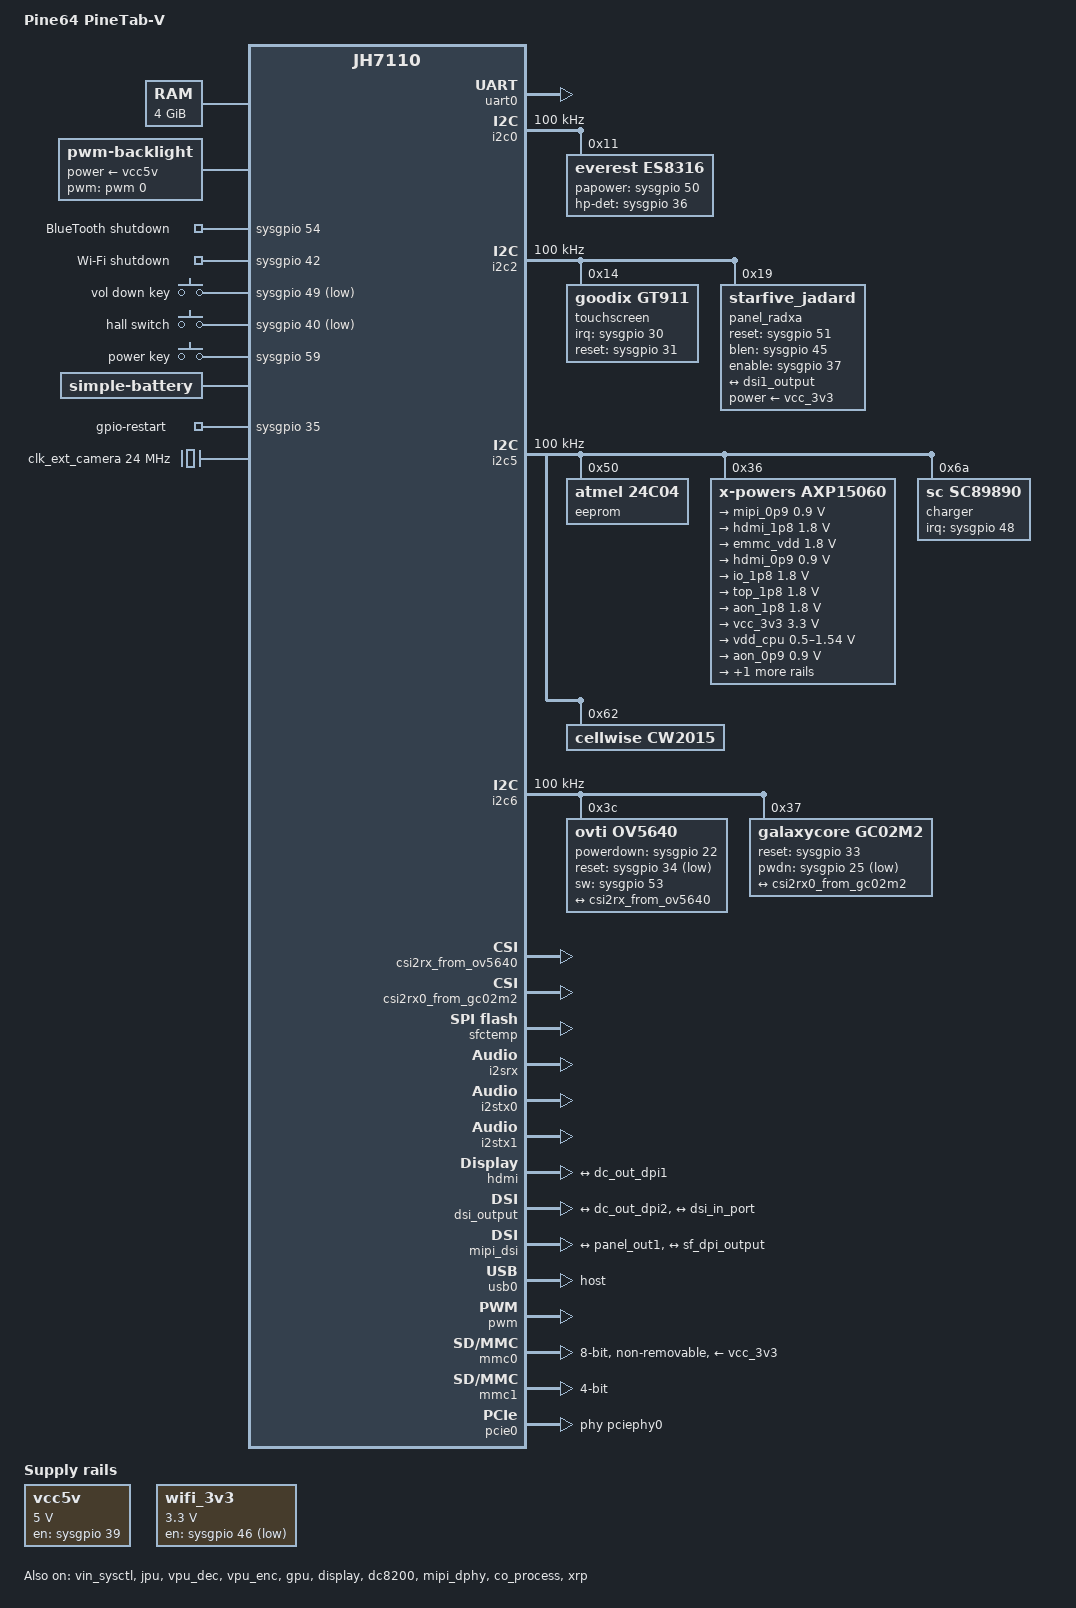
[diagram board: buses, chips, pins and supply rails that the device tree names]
// SPDX-License-Identifier: GPL-2.0 OR MIT
/*
 * Copyright (C) 2022 StarFive Technology Co., Ltd.
 * Copyright (C) 2022 Hal Feng <hal.feng@starfivetech.com>
 */

/dts-v1/;
#include <dt-bindings/gpio/gpio.h>
#include <dt-bindings/leds/common.h>
#include <dt-bindings/input/linux-event-codes.h>
#include <dt-bindings/pwm/pwm.h>
#include "jh7110.dtsi"
#include "jh7110-pinfunc.h"

/ {
	model = "Pine64 PineTab-V";
	compatible = "pine64,pinetab-v", "starfive,jh7110";

	aliases {
		mmc0 = &mmc0;
		mmc1 = &mmc1;
		serial0 = &uart0;
		serial3 = &uart3;
		i2c0 = &i2c0;
		i2c1 = &i2c1;
		i2c2 = &i2c2;
		i2c3 = &i2c3;
		i2c4 = &i2c4;
		i2c5 = &i2c5;
		i2c6 = &i2c6;
		pcie0 = &pcie0;
	};

	chosen {
		linux,initrd-start = <0x0 0x46100000>;
		linux,initrd-end = <0x0 0x4c000000>;
		stdout-path = "serial0:115200";
		#bootargs = "debug console=ttyS0 rootwait";
	};

	cpus {
		timebase-frequency = <4000000>;
	};

	memory@40000000 {
		device_type = "memory";
		reg = <0x0 0x40000000 0x1 0x0>;
	};

	backlight: backlight {
		compatible = "pwm-backlight";
		pwms = <&pwm 0 50000 PWM_POLARITY_INVERTED>;
		brightness-levels = <10 9 8 7 6 5 4 3 2 1 0>;
		default-brightness-level = <6>;
		status = "okay";
		power-supply = <&vcc5v>;
	};

        reserved-memory {
                #address-cells = <2>;
                #size-cells = <2>;
                ranges;

                linux,cma {
                        compatible = "shared-dma-pool";
                        reusable;
                        size = <0x0 0x20000000>;
                        alignment = <0x0 0x1000>;
                        alloc-ranges = <0x0 0x70000000 0x0 0x20000000>;
                        linux,cma-default;
                };

                e24_mem: e24@c0000000 {
                        reg = <0x0 0x6ce00000 0x0 0x1600000>;
                };

                xrp_reserved: xrpbuffer@f0000000 {
                        reg = <0x0 0x69c00000 0x0 0x01ffffff
                                0x0 0x6bc00000 0x0 0x00001000
                                0x0 0x6bc01000 0x0 0x00fff000
                                0x0 0x6cc00000 0x0 0x00001000>;
                };
        };

	vcc5v: vcc5v{
		compatible = "regulator-fixed";
		enable-active-high;
		gpio = <&sysgpio 39 GPIO_ACTIVE_HIGH>;
		regulator-boot-on;
		regulator-always-on;
		regulator-name = "vcc_5v";
		regulator-min-microvolt = <5000000>;
		regulator-max-microvolt = <5000000>;
	};

	wifi_3v3: wifi_3v3{
		compatible = "regulator-fixed";
		enable-active-low;
		gpio = <&sysgpio 46 GPIO_ACTIVE_LOW>;
		regulator-boot-on;
		regulator-always-on;
		regulator-name = "wifi_3v3";
		regulator-min-microvolt = <3300000>;
		regulator-max-microvolt = <3300000>;
	};

        rfkill_bt {
                compatible = "rfkill-gpio";
                label = "BlueTooth";
                radio-type = "bluetooth";
                shutdown-gpios = <&sysgpio 54 GPIO_ACTIVE_HIGH>;
        };

        rfkill_wifi {
                compatible = "rfkill-gpio";
                label = "Wi-Fi";
                radio-type = "wlan";
                shutdown-gpios = <&sysgpio 42 GPIO_ACTIVE_HIGH>;
        };

	gpio_keys: gpio-keys {
		status = "okay";
		compatible = "gpio-keys";
		autorepeat;

		vol-down-key {
			label = "vol down key";
			debounce-interval = <10>;
			linux,input-type = <EV_KEY>;
			linux,code = <KEY_VOLUMEDOWN>;
			gpios = <&sysgpio 49 GPIO_ACTIVE_LOW>;
		};

		hall-key {
			label = "hall switch";
			debounce-interval = <10>;
			linux,input-type = <EV_SW>;
			linux,code = <SW_TABLET_MODE>;
			gpios = <&sysgpio 40 GPIO_ACTIVE_LOW>;
		};

		power-key {
			label = "power key";
			debounce-interval = <10>;
			linux,input-type = <EV_KEY>;
			linux,code = <KEY_POWER>;
			gpios = <&sysgpio 59 GPIO_ACTIVE_HIGH>;
		};
	};

	bat: battery {
		compatible = "simple-battery";
		charge-full-design-microamp-hours = <6000000>;
		voltage-max-design-microvolt = <4350000>;
		voltage-min-design-microvolt = <3000000>;
	};

	gpio-restart {
		compatible = "gpio-restart";
		gpios = <&sysgpio 35 GPIO_ACTIVE_HIGH>;
		priority = <160>;
	};

	sound0: snd-card0 {
		compatible = "simple-audio-card";
		#address-cells = <1>;
		#size-cells = <0>;

		simple-audio-card,name = "StarFive-HDMI-Sound-Card";
		simple-audio-card,dai-link@0 {
			reg = <0>;
			format = "i2s";
			bitclock-master = <&sndi2s0>;
			frame-master = <&sndi2s0>;
			mclk-fs = <256>;
			status = "okay";

			sndi2s0: cpu {
				sound-dai = <&i2stx0>;
			};

			codec {
				sound-dai = <&hdmi>;
			};
		};
	};

	sound1: snd-card1 {
		compatible = "simple-audio-card";
		#address-cells = <1>;
		#size-cells = <0>;

		simple-audio-card,name = "PineTab-V";
		simple-audio-card,format = "i2s";

		simple-audio-card,widgets =
			"Microphone", "Internal Mic",
			"Microphone", "Headset Mic",
			"Headphone", "Headphones",
			"Speaker", "Speaker";
		simple-audio-card,routing =
			"MIC1", "Headset Mic",
			"MIC2", "Internal Mic",
			"Headphones", "HPOL",
			"Headphones", "HPOR",
			"Speaker", "HPOL",
			"Speaker", "HPOR";

		simple-audio-card,dai-link@0 {
			reg = <0>;
			format = "i2s";
			bitclock-master = <&sndes8316>;
			frame-master = <&sndes8316>;
			mclk-fs = <256>;
			status = "okay";

			sndi2srx1: cpu0 {
				sound-dai = <&i2srx>;
			};

			sndi2stx1: cpu1 {
				sound-dai = <&i2stx1>;
			};

			sndes8316: codec {
				sound-dai = <&es8316>;
			};
		};
	};

	clk_ext_camera: clk-ext-camera {
		compatible = "fixed-clock";
		#clock-cells = <0>;
		clock-frequency = <24000000>;
	};

};

&dvp_clk {
	clock-frequency = <74250000>;
};

&hdmitx0_pixelclk {
	clock-frequency = <297000000>;
};

&osc {
	clock-frequency = <24000000>;
};

&rtc_osc {
	clock-frequency = <32768>;
};

&i2srx_bclk_ext {
	clock-frequency = <12288000>;
};

&i2srx_lrck_ext {
	clock-frequency = <96000>;
};

&i2stx_bclk_ext {
	clock-frequency = <12288000>;
};

&i2stx_lrck_ext {
	clock-frequency = <96000>;
};

&mclk_ext {
	clock-frequency = <12288000>;
};

&sysgpio {
	i2c0_pins: i2c0-0 {
		i2c-pins {
			pinmux = <GPIOMUX(57, GPOUT_LOW,
					      GPOEN_SYS_I2C0_CLK,
					      GPI_SYS_I2C0_CLK)>,
				 <GPIOMUX(58, GPOUT_LOW,
					      GPOEN_SYS_I2C0_DATA,
					      GPI_SYS_I2C0_DATA)>;
			bias-disable; /* external pull-up */
			input-enable;
			input-schmitt-enable;
		};
	};

      i2c2_pins: i2c2-0 {
                i2c-pins {
                        pinmux = <GPIOMUX(3, GPOUT_LOW,
                                             GPOEN_SYS_I2C2_CLK,
                                             GPI_SYS_I2C2_CLK)>,
                                 <GPIOMUX(2, GPOUT_LOW,
                                             GPOEN_SYS_I2C2_DATA,
                                             GPI_SYS_I2C2_DATA)>;
                        bias-disable; /* external pull-up */
                        input-enable;
                        input-schmitt-enable;
                };
        };

	i2c5_pins: i2c5-0 {
		i2c-pins {
			pinmux = <GPIOMUX(19, GPOUT_LOW,
					      GPOEN_SYS_I2C5_CLK,
					      GPI_SYS_I2C5_CLK)>,
				 <GPIOMUX(20, GPOUT_LOW,
					      GPOEN_SYS_I2C5_DATA,
					      GPI_SYS_I2C5_DATA)>;
			bias-disable; /* external pull-up */
			input-enable;
			input-schmitt-enable;
		};
	};

	i2c6_pins: i2c6-0 {
		i2c-pins {
			pinmux = <GPIOMUX(16, GPOUT_LOW,
					      GPOEN_SYS_I2C6_CLK,
					      GPI_SYS_I2C6_CLK)>,
				 <GPIOMUX(17, GPOUT_LOW,
					      GPOEN_SYS_I2C6_DATA,
					      GPI_SYS_I2C6_DATA)>;
			bias-disable; /* external pull-up */
			input-enable;
			input-schmitt-enable;
		};
	};

	pwm_pins: pwm-0 {
		pwm-pins {
			pinmux = <GPIOMUX(45, GPOUT_SYS_PWM_CHANNEL0,
					      GPOEN_SYS_PWM0_CHANNEL0,
					      GPI_NONE)>;
			bias-disable;
			drive-strength = <12>;
			input-disable;
			input-schmitt-disable;
			slew-rate = <0>;
		};
	};

	usb_pins: usb-0 {
		usb-pins {
			pinmux = <GPIOMUX(43, GPOUT_LOW,
					      GPOEN_DISABLE,
					      GPI_NONE)>;
			bias-disable;
		};
	};

        rfkill_wifi_pins: rfkill_wifi-0 {
                rfkill_wifi-pins {
                        pinmux = <GPIOMUX(42, GPOUT_LOW,
                                              GPOEN_DISABLE,
                                              GPI_NONE)>;
                        input-enable;
                };
        };

        rfkill_bt_pins: rfkill_bt-0 {
                rfkill_bt-pins {
                        pinmux = <GPIOMUX(54, GPOUT_LOW,
                                              GPOEN_DISABLE,
                                              GPI_NONE)>;
                        input-enable;
                };
        };

	i2srx_pins: i2srx-0 {
        i2srx-pins {
            pinmux = <GPIOMUX(61, GPOUT_LOW,
                          GPOEN_DISABLE,
                          GPI_SYS_I2SRX_SDIN0)>;
            input-enable;
        };
    };

	i2stx1_pins: i2stx1-0 {
		sd-pins {
			pinmux = <GPIOMUX(44, GPOUT_SYS_I2STX1_SDO0,
					      GPOEN_ENABLE,
					      GPI_NONE)>;
			bias-disable;
			input-disable;
		};
	};

	i2s_mclk_ext_pins: i2s-mclk-ext-0 {
		mclk-ext-pins {
			pinmux = <GPIOMUX(4, GPOUT_LOW,
					     GPOEN_DISABLE,
					     GPI_SYS_MCLK_EXT)>;
			input-enable;
		};
	};

	i2s_clk_pins: i2s-clk-0 {
        bclk-lrck-pins {
            pinmux = <GPIOMUX(38, GPOUT_LOW,
                          GPOEN_DISABLE,
                          GPI_SYS_I2STX1_BCLK)>,
                 <GPIOMUX(38, GPOUT_LOW,
                          GPOEN_DISABLE,
                          GPI_SYS_I2SRX_BCLK)>,
                 <GPIOMUX(63, GPOUT_LOW,
                          GPOEN_DISABLE,
                          GPI_SYS_I2STX1_LRCK)>,
                 <GPIOMUX(63, GPOUT_LOW,
                          GPOEN_DISABLE,
                          GPI_SYS_I2SRX_LRCK)>;
            input-enable;
        };
    };

	mclk_ext_pins: mclk-ext-0 {
        mclk-ext-pins {
            pinmux = <GPIOMUX(4, GPOUT_LOW,
                         GPOEN_DISABLE,
                         GPI_SYS_MCLK_EXT)>;
            input-enable;
        };
    };

	uart0_pins: uart0-0 {
		tx-pins {
			pinmux = <GPIOMUX(5, GPOUT_SYS_UART0_TX,
					     GPOEN_ENABLE,
					     GPI_NONE)>;
			bias-disable;
			drive-strength = <12>;
			input-disable;
			input-schmitt-disable;
			slew-rate = <0>;
		};

		rx-pins {
			pinmux = <GPIOMUX(6, GPOUT_LOW,
					     GPOEN_DISABLE,
					     GPI_SYS_UART0_RX)>;
			bias-disable; /* external pull-up */
			drive-strength = <2>;
			input-enable;
			input-schmitt-enable;
			slew-rate = <0>;
		};
	};

	mmc0_pins: mmc0-0 {
		 rst-pins {
			pinmux = <GPIOMUX(62, GPOUT_SYS_SDIO0_RST,
					      GPOEN_ENABLE,
					      GPI_NONE)>;
			bias-pull-up;
			drive-strength = <12>;
			input-disable;
			input-schmitt-disable;
			slew-rate = <0>;
		};

		mmc-pins {
			pinmux = <PINMUX(64, 0)>,
				 <PINMUX(65, 0)>,
				 <PINMUX(66, 0)>,
				 <PINMUX(67, 0)>,
				 <PINMUX(68, 0)>,
				 <PINMUX(69, 0)>,
				 <PINMUX(70, 0)>,
				 <PINMUX(71, 0)>,
				 <PINMUX(72, 0)>,
				 <PINMUX(73, 0)>;
			bias-pull-up;
			drive-strength = <12>;
			input-enable;
		};
	};

	mmc1_pins: mmc1-0 {
		clk-pins {
			pinmux = <GPIOMUX(10, GPOUT_SYS_SDIO1_CLK,
					      GPOEN_ENABLE,
					      GPI_NONE)>;
			bias-pull-up;
			drive-strength = <12>;
			input-disable;
			input-schmitt-disable;
			slew-rate = <0>;
		};

		mmc-pins {
			pinmux = <GPIOMUX(9, GPOUT_SYS_SDIO1_CMD,
					     GPOEN_SYS_SDIO1_CMD,
					     GPI_SYS_SDIO1_CMD)>,
				 <GPIOMUX(11, GPOUT_SYS_SDIO1_DATA0,
					      GPOEN_SYS_SDIO1_DATA0,
					      GPI_SYS_SDIO1_DATA0)>,
				 <GPIOMUX(12, GPOUT_SYS_SDIO1_DATA1,
					      GPOEN_SYS_SDIO1_DATA1,
					      GPI_SYS_SDIO1_DATA1)>,
				 <GPIOMUX(7, GPOUT_SYS_SDIO1_DATA2,
					     GPOEN_SYS_SDIO1_DATA2,
					     GPI_SYS_SDIO1_DATA2)>,
				 <GPIOMUX(8, GPOUT_SYS_SDIO1_DATA3,
					     GPOEN_SYS_SDIO1_DATA3,
					     GPI_SYS_SDIO1_DATA3)>;
			bias-pull-up;
			drive-strength = <12>;
			input-enable;
			input-schmitt-enable;
			slew-rate = <0>;
		};
	};

	pcie0_pins: pcie0-0 {
                clkreq-pins {
                        pinmux = <GPIOMUX(27, GPOUT_LOW,
                                              GPOEN_DISABLE,
                                              GPI_NONE)>;
                        bias-pull-down;
                        drive-strength = <2>;
                        input-enable;
                        input-schmitt-disable;
                        slew-rate = <0>;
                };

                wake-pins {
                        pinmux = <GPIOMUX(32, GPOUT_LOW,
                                              GPOEN_DISABLE,
                                              GPI_NONE)>;
                        bias-pull-up;
                        drive-strength = <2>;
                        input-enable;
                        input-schmitt-disable;
                        slew-rate = <0>;
                };
        };

	hdmi_pins: hdmi-0 {
		scl-pins {
			pinmux = <GPIOMUX(0, GPOUT_SYS_HDMI_DDC_SCL,
					     GPOEN_SYS_HDMI_DDC_SCL,
					     GPI_SYS_HDMI_DDC_SCL)>;
			bias-pull-up;
			input-enable;
		};

		sda-pins {
			pinmux = <GPIOMUX(1, GPOUT_SYS_HDMI_DDC_SDA,
					     GPOEN_SYS_HDMI_DDC_SDA,
					     GPI_SYS_HDMI_DDC_SDA)>;
			bias-pull-up;
			input-enable;
		};

		cec-pins {
			pinmux = <GPIOMUX(14, GPOUT_SYS_HDMI_CEC_SDA,
					      GPOEN_SYS_HDMI_CEC_SDA,
					      GPI_SYS_HDMI_CEC_SDA)>;
			bias-pull-up;
			input-enable;
		};

		hpd-pins {
			pinmux = <GPIOMUX(15, GPOUT_LOW,
					      GPOEN_DISABLE,
					      GPI_SYS_HDMI_HPD)>;
			bias-disable; /* external pull-up */
			input-enable;
		};
	};

	ov5640_pins: ov5640-0 {
		pwdn-pins {
			pinmux = <GPIOMUX(22, GPOUT_HIGH,
					      GPOEN_ENABLE,
					      GPI_NONE)>;
			input-enable;
		};

		rst-pins {
			pinmux = <GPIOMUX(34, GPOUT_HIGH,
					      GPOEN_ENABLE,
					      GPI_NONE)>;
			input-enable;
		};

		sw-pins {
			pinmux = <GPIOMUX(53, GPOUT_HIGH,
					      GPOEN_ENABLE,
					      GPI_NONE)>;
			input-enable;
		};
	};

	gc02m2_pins: gc02m2-0 {
		pwdn-pins {
			pinmux = <GPIOMUX(25, GPOUT_HIGH,
					      GPOEN_ENABLE,
					      GPI_NONE)>;
			input-enable;
		};

		rst-pins {
			pinmux = <GPIOMUX(33, GPOUT_HIGH,
					      GPOEN_ENABLE,
					      GPI_NONE)>;
			input-enable;
		};
	};

};

&uart0 {
	status = "okay";
};

&i2c0 {
	clock-frequency = <100000>;
	i2c-sda-hold-time-ns = <300>;
	i2c-sda-falling-time-ns = <510>;
	i2c-scl-falling-time-ns = <510>;
	pinctrl-names = "default";
	pinctrl-0 = <&i2c0_pins>;
	status = "okay";

	es8316: audio-codec@11 {
		compatible = "everest,es8316";
		reg = <0x11>;
		clocks = <&mclk_ext>;
		clock-names = "mclk";
		#sound-dai-cells = <0>;

		papower-gpio = <&sysgpio 50 GPIO_ACTIVE_HIGH>;
		hp-det-gpio = <&sysgpio 36 GPIO_ACTIVE_HIGH>;
	};
};

&i2c2 {
	clock-frequency = <100000>;
	i2c-sda-hold-time-ns = <300>;
	i2c-sda-falling-time-ns = <510>;
	i2c-scl-falling-time-ns = <510>;
	auto_calc_scl_lhcnt;
	pinctrl-names = "default";
	pinctrl-0 = <&i2c2_pins>;
	status = "okay";

	touchscreen@14 {
		status = "okay";
		compatible = "goodix,gt911";
		reg = <0x14>;
		irq-gpios = <&sysgpio 30 GPIO_ACTIVE_HIGH>;
		reset-gpios = <&sysgpio 31 GPIO_ACTIVE_HIGH>;
	};

	       panel_radxa@19 {
                status = "okay";
                compatible ="starfive_jadard";
                reg = <0x19>;
		reset-gpio = <&sysgpio 51 0>;
		blen-gpio = <&sysgpio 45 0>;
		enable-gpio = <&sysgpio 37 0>;
		power-supply = <&vcc_3v3>;
                port {
                        panel_out1: endpoint {
                                remote-endpoint = <&dsi1_output>;
                                };
                };
        };

};

&i2c5 {
	clock-frequency = <100000>;
	i2c-sda-hold-time-ns = <300>;
	i2c-sda-falling-time-ns = <510>;
	i2c-scl-falling-time-ns = <510>;
	auto_calc_scl_lhcnt;
	pinctrl-names = "default";
	pinctrl-0 = <&i2c5_pins>;
	status = "okay";

	eeprom@50 {
		compatible = "atmel,24c04";
		reg = <0x50>;
		pagesize = <16>;
	};


	axp15060: pmic@36 {
		compatible = "x-powers,axp15060";
		reg = <0x36>;
		interrupts = <0>;
		interrupt-controller;
		#interrupt-cells = <1>;

		regulators {
			mipi_0p9: aldo1 {
				regulator-boot-on;
				regulator-compatible = "aldo1";
				regulator-name = "mipi_0p9";
				regulator-min-microvolt = <900000>;
				regulator-max-microvolt = <900000>;
			};

			hdmi_1p8: aldo3 {
				regulator-boot-on;
				regulator-compatible = "aldo3";
				regulator-name = "hdmi_1p8";
				regulator-min-microvolt = <1800000>;
				regulator-max-microvolt = <1800000>;
			};

			emmc_vdd: aldo4 {
				regulator-boot-on;
				regulator-always-on;
				regulator-min-microvolt = <1800000>;
				regulator-max-microvolt = <1800000>;
				regulator-compatible = "aldo4";
				regulator-name = "emmc_vdd";
			};

			hdmi_0p9: aldo5 {
				regulator-boot-on;
				regulator-compatible = "aldo5";
				regulator-name = "hdmi_0p9";
				regulator-min-microvolt = <900000>;
				regulator-max-microvolt = <900000>;
			};

			io_1p8: bldo3 {
				regulator-boot-on;
				regulator-always-on;
				regulator-compatible = "bldo3";
				regulator-name = "io_1p8";
				regulator-min-microvolt = <1800000>;
				regulator-max-microvolt = <1800000>;
			};

			top_1p8: bldo4 {
				regulator-boot-on;
				regulator-always-on;
				regulator-compatible = "bldo4";
				regulator-name = "top_1p8";
				regulator-min-microvolt = <1800000>;
				regulator-max-microvolt = <1800000>;
			};

			aon_1p8: bldo5 {
				regulator-boot-on;
				regulator-always-on;
				regulator-compatible = "bldo5";
				regulator-name = "aon_1p8";
				regulator-min-microvolt = <1800000>;
				regulator-max-microvolt = <1800000>;
			};

			vcc_3v3: dcdc1 {
				regulator-boot-on;
				regulator-always-on;
				regulator-min-microvolt = <3300000>;
				regulator-max-microvolt = <3300000>;
				regulator-compatible = "dcdc1";
				regulator-name = "vcc_3v3";
			};

			vdd_cpu: dcdc2 {
				regulator-always-on;
				regulator-min-microvolt = <500000>;
				regulator-max-microvolt = <1540000>;
				regulator-compatible = "dcdc2";
				regulator-name = "vdd-cpu";
			};

			aon_0p9: dcdc3 {
				regulator-always-on;
				regulator-min-microvolt = <900000>;
				regulator-max-microvolt = <900000>;
				regulator-compatible = "dcdc3";
				regulator-name = "aon_0p9";
			};

			io_3p3: dcdc6 {
				regulator-always-on;
				regulator-min-microvolt = <3300000>;
				regulator-max-microvolt = <3300000>;
				regulator-compatible = "dcdc6";
				regulator-name = "io_3p3";
			};
		};
	};

	charger: sc89890@6a {
		compatible = "sc,sc89890";
		status = "okay";
		reg = <0x6a>;
		interrupt-parent = <&sysgpio>;
		interrupts = <48 IRQ_TYPE_EDGE_FALLING>;
		ti,battery-regulation-voltage = <4350000>; /* maximum charging voltage (in uV) */
		ti,charge-current = <3000000> /* maximum charging current (in uA) */;
		ti,termination-current = <300000>;  /* charge will be terminated when current in constant-voltage phase drops below this value (in uA) */
		ti,precharge-current = <128000>; /* maximum charge current during precharge phase (in uA) */
		ti,minimum-sys-voltage = <3400000>; /* when battery is charging and it is below minimum system voltage, the system will be regulated above minimum-sys-voltage setting (in uV) */
		ti,boost-voltage = <5000000>; /* VBUS voltage level in boost mode (in uV) */
		ti,boost-max-current = <1500000>; /* maximum allowed current draw in boost mode (in uA) */
		ti,use-ilim-pin = <0>; /* dont use ILIM pin to set charge current */
		ti,input-current-limit = <3000000>; /* maximum input current limit (in uA) as PtV can't detect what type of Charger is connected */
		monitored-battery = <&bat>;
	};

	cw2015@62 {
	    status = "okay";
	    compatible = "cellwise,cw2015";
	    reg = <0x62>;
	    cellwise,battery-profile = /bits/ 8
		<0x17 0x67 0x6C 0x68 0x66 0x64 0x63 0x5D
		 0x64 0x6C 0x4B 0x58 0x59 0x4D 0x42 0x3A
		 0x30 0x28 0x23 0x1D 0x24 0x2C 0x3C 0x4A
		 0x30 0x21 0x0C 0xCD 0x30 0x50 0x52 0x6A
		 0x73 0x70 0x70 0x73 0x40 0x1B 0x65 0x3D
		 0x0A 0x28 0x25 0x55 0x84 0x93 0x97 0x19
		 0x41 0x7D 0x97 0xAF 0x80 0x8C 0xAE 0xCB
		 0x2F 0x00 0x64 0xA5 0xB5 0x11 0xF0 0x39>;
	    cellwise,monitor-interval-ms = <5000>;
		monitored-battery = <&bat>;
	    power-supplies = <&charger>;
	 };
};

&i2c6 {
	clock-frequency = <100000>;
	i2c-sda-hold-time-ns = <300>;
	i2c-sda-falling-time-ns = <510>;
	i2c-scl-falling-time-ns = <510>;
	pinctrl-names = "default";
	pinctrl-0 = <&i2c6_pins>;
	status = "okay";

	ov5640: camera@3c {
		status = "okay";
		compatible = "ovti,ov5640";
		pinctrl-names = "default";
		pinctrl-0 = <&ov5640_pins>;
		reg = <0x3c>;
		clocks = <&clk_ext_camera>;
		clock-names = "xclk";
		powerdown-gpios = <&sysgpio 22 GPIO_ACTIVE_HIGH>;
		reset-gpios = <&sysgpio 34 GPIO_ACTIVE_LOW>;
		sw-gpios = <&sysgpio 53 GPIO_ACTIVE_HIGH>;
		rotation = <0>;

		port {
			/* CSI2 bus endpoint */
			ov5640_to_csi2rx: endpoint {
				remote-endpoint = <&csi2rx_from_ov5640>;
				bus-type = <4>;      /* MIPI CSI-2 D-PHY */
				data-lanes = <2 1>;
				lane-polarities = <0 0 0>;
				link-frequencies = /bits/ 64 <456000000>;
			};
		};
	};


	gc02m2: gc02m2@37 {
		status = "okay";
		compatible = "galaxycore,gc02m2";
		pinctrl-names = "default";
		pinctrl-0 = <&gc02m2_pins>;
		reg = <0x37>;
		clocks = <&clk_ext_camera>;
		clock-names = "xvclk";
		reset-gpio = <&sysgpio 33 GPIO_ACTIVE_HIGH>;
		pwdn-gpio = <&sysgpio 25 GPIO_ACTIVE_LOW>;

		port {
			gc02m2_to_csi2rx0: endpoint {
				remote-endpoint = <&csi2rx0_from_gc02m2>;
				bus-type = <4>;      /* MIPI CSI-2 D-PHY */
				data-lanes = <1>;
				link-frequencies = /bits/ 64 <336000000>;
			};
		};
	};

};

&vin_sysctl {
	/* when use dvp open this pinctrl*/
	status = "okay";

	ports {
		#address-cells = <1>;
		#size-cells = <0>;

		port@1 {
			reg = <1>;
			#address-cells = <1>;
			#size-cells = <0>;

			csi2rx_from_ov5640: endpoint@0 {
				reg = <0>;
				remote-endpoint = <&ov5640_to_csi2rx>;
				bus-type = <4>;      /* MIPI CSI-2 D-PHY */
				clock-lanes = <0>;
				data-lanes = <2 1>;
				lane-polarities = <0 0 0>;
				status = "okay";
			};

			csi2rx0_from_gc02m2: endpoint@1 {
				reg = <1>;
				remote-endpoint = <&gc02m2_to_csi2rx0>;
				bus-type = <4>;      /* MIPI CSI-2 D-PHY */
				clock-lanes = <0>;
				data-lanes = <2 1>;
				lane-polarities = <0 0 0>;
				status = "okay";
			};
		};
	};
};

&sfctemp {
	status = "okay";
};

&jpu {
	status = "okay";
};

&vpu_dec {
	status = "okay";
};

&vpu_enc {
	status = "okay";
};

&gpu {
	status = "okay";
};

&i2srx {
	pinctrl-names = "default";
	pinctrl-0 = <&i2s_clk_pins &i2srx_pins &mclk_ext_pins>;
	status = "okay";
};

&i2stx0 {
	pinctrl-names = "default";
	pinctrl-0 = <&i2s_mclk_ext_pins>;
	status = "okay";
};

&i2stx1 {
	pinctrl-names = "default";
	pinctrl-0 = <&i2stx1_pins>;
	status = "okay";
};

&mailbox_contrl0 {
	status = "okay";
};

&mailbox_client0 {
	status = "okay";
};

&display {
	ports = <&dc_out_dpi0>;
	status = "okay";
};

&hdmi {
	status = "okay";

	hdmi_in: port {
		#address-cells = <1>;
		#size-cells = <0>;
		hdmi_in_lcdc: endpoint@0 {
			reg = <0>;
			remote-endpoint = <&dc_out_dpi1>;
		};
	};
};

&dc8200 {
	status = "okay";

	dc_out: port {
		#address-cells = <1>;
		#size-cells = <0>;
		dc_out_dpi0: endpoint@0 {
			reg = <0>;
			remote-endpoint = <&hdmi_input0>;
		};
		dc_out_dpi1: endpoint@1 {
			reg = <1>;
			remote-endpoint = <&hdmi_in_lcdc>;
		};

		dc_out_dpi2: endpoint@2 {
			reg = <2>;
			remote-endpoint = <&mipi_in>;
		};
	};
};

&rgb_output {
	status = "disabled";

	ports {
		#address-cells = <1>;
		#size-cells = <0>;
		port@0 {
			#address-cells = <1>;
			#size-cells = <0>;
			reg = <0>;
			hdmi_input0:endpoint@0 {
				reg = <0>;
				remote-endpoint = <&dc_out_dpi0>;
			};
		};
	};
};

&dsi_output {
	status = "okay";

	ports {
		#address-cells = <1>;
		#size-cells = <0>;

		port@0 {
			reg = <0>;
			mipi_in: endpoint {
				remote-endpoint = <&dc_out_dpi2>;
			};
		};

		port@1 {
			reg = <1>;
			sf_dpi_output: endpoint {
				remote-endpoint = <&dsi_in_port>;
			};
		};
	};
};

&mipi_dsi {
	#address-cells = <1>;
	#size-cells = <0>;
	status = "okay";

	ports {
		#address-cells = <1>;
		#size-cells = <0>;

		port@0 {
			reg = <0>;
			#address-cells = <1>;
			#size-cells = <0>;

			dsi1_output: endpoint@1 {
				reg = <0x1>;
				remote-endpoint = <&panel_out1>;
			};
		};

		port@1{
			reg = <1>;
			dsi_in_port: endpoint {
				remote-endpoint = <&sf_dpi_output>;
			};
		};

	};
/*
	panel: panel@0 {
		status = "okay";
		compatible ="boe,th101mb31ig002-28a-pinetab-v";
		reg = <0x0>;
		enable-gpio = <&sysgpio 37 GPIO_ACTIVE_HIGH>;
		backlight = <&backlight>;
		rotation = <90>;
		power-supply = <&vcc_3v3>;

		port {
			panel_out1: endpoint {
				remote-endpoint = <&dsi1_output>;
			};
		};
	};
*/

};

&mipi_dphy {
	status = "okay";
};

&co_process {
	status = "okay";
};

&usb0 {
	pinctrl-names = "default";
	pinctrl-0 = <&usb_pins>;
	dr_mode = "host";
	xhci-lowmem-pool;
	status = "okay";
};

&xrp {
	status = "okay";
};

&pwm {
	pinctrl-names = "default";
	pinctrl-0 = <&pwm_pins>;
	status = "okay";
};

&uart0 {
	pinctrl-names = "default";
	pinctrl-0 = <&uart0_pins>;
	status = "okay";
};

&mmc0 {
	max-frequency = <100000000>;
	assigned-clocks = <&syscrg JH7110_SYSCLK_SDIO0_SDCARD>;
	assigned-clock-rates = <50000000>;
	bus-width = <8>;
	cap-mmc-highspeed;
	mmc-ddr-1_8v;
	mmc-hs200-1_8v;
	non-removable;
	cap-mmc-hw-reset;
	post-power-on-delay-ms = <200>;
	pinctrl-names = "default";
	pinctrl-0 = <&mmc0_pins>;
	vmmc-supply = <&vcc_3v3>;
	vqmmc-supply = <&emmc_vdd>;
	status = "okay";
};

&mmc1 {
	max-frequency = <100000000>;
	assigned-clocks = <&syscrg JH7110_SYSCLK_SDIO1_SDCARD>;
	assigned-clock-rates = <50000000>;
	bus-width = <4>;
	no-sdio;
	no-mmc;
	broken-cd;
	cap-sd-highspeed;
	post-power-on-delay-ms = <200>;
	pinctrl-names = "default";
	pinctrl-0 = <&mmc1_pins>;
	status = "okay";
};

&pcie0 {
        perst-gpios = <&sysgpio 26 GPIO_ACTIVE_LOW>;
        phys = <&pciephy0>;
        pinctrl-names = "default";
        pinctrl-0 = <&pcie0_pins>;
        status = "okay";
};

&hdmi {
	status = "okay";
	pinctrl-names = "default";
	pinctrl-0 = <&hdmi_pins>;
	hpd-gpio = <&sysgpio 15 GPIO_ACTIVE_HIGH>;
	hdmi_0p9-supply = <&hdmi_0p9>;
	hdmi_1p8-supply = <&hdmi_1p8>;

	hdmi_in: port {
		#address-cells = <1>;
		#size-cells = <0>;
		hdmi_in_lcdc: endpoint@0 {
			reg = <0>;
			remote-endpoint = <&dc_out_dpi1>;
		};
	};
};

&U74_1 {
	cpu-supply = <&vdd_cpu>;
};

&U74_2 {
	cpu-supply = <&vdd_cpu>;
};

&U74_3 {
	cpu-supply = <&vdd_cpu>;
};

&U74_4 {
	cpu-supply = <&vdd_cpu>;
};


